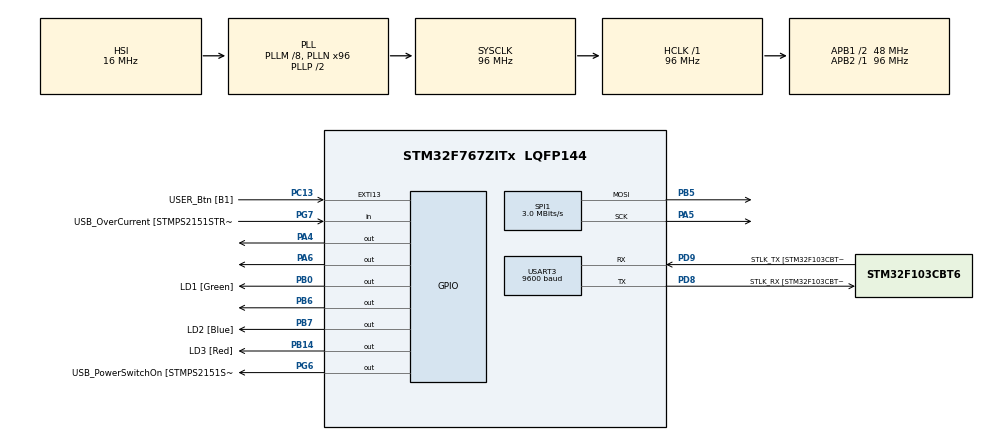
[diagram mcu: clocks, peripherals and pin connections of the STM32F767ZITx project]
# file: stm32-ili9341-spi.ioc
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CORTEX_M7.default_mode_Activation=1
Mcu.Family=STM32F7
Mcu.Name=STM32F767ZITx
Mcu.Package=LQFP144
NVIC.PriorityGroup=NVIC_PRIORITYGROUP_4
PA1.GPIO_Label=RMII_REF_CLK [LAN8742A-CZ-TR_REFCLK0]
PA1.Signal=ETH_REF_CLK
PA10.GPIO_Label=USB_ID
PA10.Signal=USB_OTG_FS_ID
PA11.GPIO_Label=USB_DM
PA11.Signal=USB_OTG_FS_DM
PA12.GPIO_Label=USB_DP
PA12.Signal=USB_OTG_FS_DP
PA13.GPIO_Label=TMS
PA13.Mode=Serial_Wire
PA13.Signal=SYS_JTMS-SWDIO
PA14.GPIO_Label=TCK
PA14.Mode=Serial_Wire
PA14.Signal=SYS_JTCK-SWCLK
PA2.GPIO_Label=RMII_MDIO [LAN8742A-CZ-TR_MDIO]
PA2.Signal=ETH_MDIO
PA4.PinState=GPIO_PIN_SET
PA4.Signal=GPIO_Output
PA5.Mode=TX_Only_Simplex_Unidirect_Master
PA5.Signal=SPI1_SCK
PA6.PinState=GPIO_PIN_RESET
PA6.Signal=GPIO_Output
PA7.GPIO_Label=RMII_CRS_DV [LAN8742A-CZ-TR_CRS_DV]
PA7.Signal=ETH_CRS_DV
PA8.GPIO_Label=USB_SOF [TP1]
PA8.Signal=USB_OTG_FS_SOF
PA9.GPIO_Label=USB_VBUS
PA9.Signal=USB_OTG_FS_VBUS
PB0.GPIO_Label=LD1 [Green]
PB0.Signal=GPIO_Output
PB13.GPIO_Label=RMII_TXD1 [LAN8742A-CZ-TR_TXD1]
PB13.Signal=ETH_TXD1
PB14.GPIO_Label=LD3 [Red]
PB14.Signal=GPIO_Output
PB3.GPIO_Label=SW0
PB3.Signal=SYS_JTDO-SWO
PB5.Mode=TX_Only_Simplex_Unidirect_Master
PB5.Signal=SPI1_MOSI
PB6.PinState=GPIO_PIN_SET
PB6.Signal=GPIO_Output
PB7.GPIO_Label=LD2 [Blue]
PB7.Signal=GPIO_Output
PC1.GPIO_Label=RMII_MDC [LAN8742A-CZ-TR_MDC]
PC1.Signal=ETH_MDC
PC13.GPIO_Label=USER_Btn [B1]
PC13.Signal=GPXTI13
PC14/OSC32_IN.Signal=RCC_OSC32_IN
PC15/OSC32_OUT.Signal=RCC_OSC32_OUT
PC4.GPIO_Label=RMII_RXD0 [LAN8742A-CZ-TR_RXD0]
PC4.Signal=ETH_RXD0
PC5.GPIO_Label=RMII_RXD1 [LAN8742A-CZ-TR_RXD1]
PC5.Signal=ETH_RXD1
PD8.GPIO_Label=STLK_RX [STM32F103CBT6_PA3]
PD8.Mode=Asynchronous
PD8.Signal=USART3_TX
PD9.GPIO_Label=STLK_TX [STM32F103CBT6_PA2]
PD9.Mode=Asynchronous
PD9.Signal=USART3_RX
PG11.GPIO_Label=RMII_TX_EN [LAN8742A-CZ-TR_TXEN]
PG11.Signal=ETH_TX_EN
PG13.GPIO_Label=RMII_TXD0 [LAN8742A-CZ-TR_TXD0]
PG13.Signal=ETH_TXD0
PG6.GPIO_Label=USB_PowerSwitchOn [STMPS2151STR_EN]
PG6.Signal=GPIO_Output
PG7.GPIO_Label=USB_OverCurrent [STMPS2151STR_FAULT]
PG7.Signal=GPIO_Input
PH0/OSC_IN.GPIO_Label=MCO [STM32F103CBT6_PA8]
PH0/OSC_IN.Signal=RCC_OSC_IN
PH1/OSC_OUT.Signal=RCC_OSC_OUT
ProjectManager.HeapSize=0x200
ProjectManager.StackSize=0x400
ProjectManager.TargetToolchain=STM32CubeIDE
RCC.48MHZClocksFreq_Value=24000000
RCC.AHBFreq_Value=96000000
RCC.APB1CLKDivider=RCC_HCLK_DIV2
RCC.APB1Freq_Value=48000000
RCC.APB1TimFreq_Value=96000000
RCC.APB2Freq_Value=96000000
RCC.APB2TimFreq_Value=96000000
RCC.CortexFreq_Value=96000000
RCC.HCLKFreq_Value=96000000
RCC.HSE_VALUE=16000000
RCC.HSI_VALUE=16000000
RCC.LSE_VALUE=32768
RCC.PLLM=8
RCC.PLLMUL=RCC_PLL_MUL9
RCC.PLLN=96
RCC.PRESCALERUSB=RCC_USBCLKSOURCE_PLL_DIV1_5
RCC.SYSCLKFreq_VALUE=96000000
RCC.SYSCLKSource=RCC_SYSCLKSOURCE_PLLCLK
RCC.SYSCLKSourceVirtual=RCC_SYSCLKSOURCE_PLLCLK
RCC.USBFreq_Value=96000000
RCC.VCOOutputFreq_Value=192000000
SPI1.BaudRatePrescaler=SPI_BAUDRATEPRESCALER_32
SPI1.CalculateBaudRate=3.0 MBits/s
SPI1.DataSize=SPI_DATASIZE_8BIT
SPI1.Direction=SPI_DIRECTION_2LINES
SPI1.Mode=SPI_MODE_MASTER
SPI1.VirtualType=VM_MASTER
USART3.BaudRate=9600
USART3.VirtualMode-Asynchronous=VM_ASYNC
board=NUCLEO-F767ZI

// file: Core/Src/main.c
/* USER CODE BEGIN Header */
/* https://github.com/Romshh */
/**
  ******************************************************************************
  * @file           : main.c
  * @brief          : Main program body
  ******************************************************************************
  * @attention
  *
  * Copyright (c) 2026 STMicroelectronics.
  * All rights reserved.
  *
  * This software is licensed under terms that can be found in the LICENSE file
  * in the root directory of this software component.
  * If no LICENSE file comes with this software, it is provided AS-IS.
  *
  ******************************************************************************
  */
/* USER CODE END Header */

#include "main.h"

/* USER CODE BEGIN Includes */
#include "lcd.h"

/* USER CODE END Includes */

SPI_HandleTypeDef hspi1;

UART_HandleTypeDef huart3;

void SystemClock_Config(void);
static void MPU_Config(void);
static void MX_GPIO_Init(void);
static void MX_SPI1_Init(void);
static void MX_USART3_UART_Init(void);

/* USER CODE BEGIN 0 */

#define LOGO_SIZE   56
#define LOGO_SCALE   3

static const char *logo[LOGO_SIZE] = {
  ".........................######.........................",
  "....................################....................",
  "..................####################..................",
  "...............#########################................",
  "..............############################..............",
  "............################################............",
  "...........##################################...........",
  "..........####################################..........",
  ".........######################################.........",
  "........########################################........",
  ".......##########################################.......",
  "......############################################......",
  ".....##########.########################.##########.....",
  ".....#########.....##################.....#########.....",
  "....##########.......##..........##.......##########....",
  "....##########............................##########....",
  "...###########............................###########...",
  "...###########............................###########...",
  "..############............................############..",
  "..############............................############..",
  "..############............................############..",
  ".############..............................############.",
  ".############..............................############.",
  ".###########................................###########.",
  ".###########................................###########.",
  ".###########................................###########.",
  "############................................############",
  "############................................############",
  "############................................############",
  "############................................############",
  "############................................############",
  "############................................############",
  ".############..............................############.",
  ".############..............................############.",
  ".#############............................#############.",
  ".##############..........................##############.",
  ".##############.........................###############.",
  "..###############......................###############..",
  "..################....................################..",
  "...#####....########...............##################...",
  "...#####.....##########..........####################...",
  "...#######....#########..........####################...",
  "....#######....#######............##################....",
  ".....######.....####...............################.....",
  ".....#######.......................################.....",
  "......######.......................###############......",
  ".......######......................##############.......",
  "........######.....................##############.......",
  "........########...................#############........",
  "..........###########..............############.........",
  "...........##########..............##########...........",
  "............#########..............#########............",
  "..............#######..............########.............",
  "...............######..............######...............",
  ".................###................###.................",
  "........................................................",
};

/* USER CODE END 0 */

int main(void)
{

  MPU_Config();

  HAL_Init();

  SystemClock_Config();

  MX_GPIO_Init();
  MX_SPI1_Init();
  MX_USART3_UART_Init();
  /* USER CODE BEGIN 2 */
  lcd_init();

  lcd_clear(BLACK);

  uint16_t lx = (LCD_W - LOGO_SIZE * LOGO_SCALE) / 2;
  uint16_t ly = 6;

  for (uint16_t r = 0; r < LOGO_SIZE; r++) {
    for (uint16_t c = 0; c < LOGO_SIZE; c++) {
      if (logo[r][c] == '#') {
        lcd_rect_fill(lx + c * LOGO_SCALE, ly + r * LOGO_SCALE,
                      LOGO_SCALE, LOGO_SCALE, WHITE);
      }
    }
  }

  lcd_text((LCD_W - 6 * 6 * 4) / 2, 190, "Romshh", WHITE, BLACK, 4);

  /* USER CODE END 2 */

  while (1)
  {

  }
}

void SystemClock_Config(void)
{
  RCC_OscInitTypeDef RCC_OscInitStruct = {0};
  RCC_ClkInitTypeDef RCC_ClkInitStruct = {0};

  __HAL_RCC_PWR_CLK_ENABLE();
  __HAL_PWR_VOLTAGESCALING_CONFIG(PWR_REGULATOR_VOLTAGE_SCALE3);

  RCC_OscInitStruct.OscillatorType = RCC_OSCILLATORTYPE_HSI;
  RCC_OscInitStruct.HSIState = RCC_HSI_ON;
  RCC_OscInitStruct.HSICalibrationValue = RCC_HSICALIBRATION_DEFAULT;
  RCC_OscInitStruct.PLL.PLLState = RCC_PLL_ON;
  RCC_OscInitStruct.PLL.PLLSource = RCC_PLLSOURCE_HSI;
  RCC_OscInitStruct.PLL.PLLM = 8;
  RCC_OscInitStruct.PLL.PLLN = 96;
  RCC_OscInitStruct.PLL.PLLP = RCC_PLLP_DIV2;
  RCC_OscInitStruct.PLL.PLLQ = 2;
  RCC_OscInitStruct.PLL.PLLR = 2;
  if (HAL_RCC_OscConfig(&RCC_OscInitStruct) != HAL_OK)
  {
    Error_Handler();
  }

  if (HAL_PWREx_EnableOverDrive() != HAL_OK)
  {
    Error_Handler();
  }

  RCC_ClkInitStruct.ClockType = RCC_CLOCKTYPE_HCLK|RCC_CLOCKTYPE_SYSCLK
                              |RCC_CLOCKTYPE_PCLK1|RCC_CLOCKTYPE_PCLK2;
  RCC_ClkInitStruct.SYSCLKSource = RCC_SYSCLKSOURCE_PLLCLK;
  RCC_ClkInitStruct.AHBCLKDivider = RCC_SYSCLK_DIV1;
  RCC_ClkInitStruct.APB1CLKDivider = RCC_HCLK_DIV2;
  RCC_ClkInitStruct.APB2CLKDivider = RCC_HCLK_DIV1;

  if (HAL_RCC_ClockConfig(&RCC_ClkInitStruct, FLASH_LATENCY_3) != HAL_OK)
  {
    Error_Handler();
  }
}

static void MX_SPI1_Init(void)
{

  hspi1.Instance = SPI1;
  hspi1.Init.Mode = SPI_MODE_MASTER;
  hspi1.Init.Direction = SPI_DIRECTION_2LINES;
  hspi1.Init.DataSize = SPI_DATASIZE_8BIT;
  hspi1.Init.CLKPolarity = SPI_POLARITY_LOW;
  hspi1.Init.CLKPhase = SPI_PHASE_1EDGE;
  hspi1.Init.NSS = SPI_NSS_SOFT;
  hspi1.Init.BaudRatePrescaler = SPI_BAUDRATEPRESCALER_32;
  hspi1.Init.FirstBit = SPI_FIRSTBIT_MSB;
  hspi1.Init.TIMode = SPI_TIMODE_DISABLE;
  hspi1.Init.CRCCalculation = SPI_CRCCALCULATION_DISABLE;
  hspi1.Init.CRCPolynomial = 7;
  hspi1.Init.CRCLength = SPI_CRC_LENGTH_DATASIZE;
  hspi1.Init.NSSPMode = SPI_NSS_PULSE_ENABLE;
  if (HAL_SPI_Init(&hspi1) != HAL_OK)
  {
    Error_Handler();
  }

}

static void MX_USART3_UART_Init(void)
{

  huart3.Instance = USART3;
  huart3.Init.BaudRate = 9600;
  huart3.Init.WordLength = UART_WORDLENGTH_8B;
  huart3.Init.StopBits = UART_STOPBITS_1;
  huart3.Init.Parity = UART_PARITY_NONE;
  huart3.Init.Mode = UART_MODE_TX_RX;
  huart3.Init.HwFlowCtl = UART_HWCONTROL_NONE;
  huart3.Init.OverSampling = UART_OVERSAMPLING_16;
  huart3.Init.OneBitSampling = UART_ONE_BIT_SAMPLE_DISABLE;
  huart3.AdvancedInit.AdvFeatureInit = UART_ADVFEATURE_NO_INIT;
  if (HAL_UART_Init(&huart3) != HAL_OK)
  {
    Error_Handler();
  }

}

static void MX_GPIO_Init(void)
{
  GPIO_InitTypeDef GPIO_InitStruct = {0};

  __HAL_RCC_GPIOC_CLK_ENABLE();
  __HAL_RCC_GPIOH_CLK_ENABLE();
  __HAL_RCC_GPIOA_CLK_ENABLE();
  __HAL_RCC_GPIOB_CLK_ENABLE();
  __HAL_RCC_GPIOD_CLK_ENABLE();
  __HAL_RCC_GPIOG_CLK_ENABLE();

  HAL_GPIO_WritePin(GPIOA, GPIO_PIN_4, GPIO_PIN_SET);

  HAL_GPIO_WritePin(GPIOA, GPIO_PIN_6, GPIO_PIN_RESET);

  HAL_GPIO_WritePin(GPIOB, LD1_Pin|LD3_Pin|LD2_Pin, GPIO_PIN_RESET);

  HAL_GPIO_WritePin(USB_PowerSwitchOn_GPIO_Port, USB_PowerSwitchOn_Pin, GPIO_PIN_RESET);

  HAL_GPIO_WritePin(GPIOB, GPIO_PIN_6, GPIO_PIN_SET);

  GPIO_InitStruct.Pin = USER_Btn_Pin;
  GPIO_InitStruct.Mode = GPIO_MODE_IT_RISING;
  GPIO_InitStruct.Pull = GPIO_NOPULL;
  HAL_GPIO_Init(USER_Btn_GPIO_Port, &GPIO_InitStruct);

  GPIO_InitStruct.Pin = RMII_MDC_Pin|RMII_RXD0_Pin|RMII_RXD1_Pin;
  GPIO_InitStruct.Mode = GPIO_MODE_AF_PP;
  GPIO_InitStruct.Pull = GPIO_NOPULL;
  GPIO_InitStruct.Speed = GPIO_SPEED_FREQ_HIGH;
  GPIO_InitStruct.Alternate = GPIO_AF11_ETH;
  HAL_GPIO_Init(GPIOC, &GPIO_InitStruct);

  GPIO_InitStruct.Pin = RMII_REF_CLK_Pin|RMII_MDIO_Pin|RMII_CRS_DV_Pin;
  GPIO_InitStruct.Mode = GPIO_MODE_AF_PP;
  GPIO_InitStruct.Pull = GPIO_NOPULL;
  GPIO_InitStruct.Speed = GPIO_SPEED_FREQ_HIGH;
  GPIO_InitStruct.Alternate = GPIO_AF11_ETH;
  HAL_GPIO_Init(GPIOA, &GPIO_InitStruct);

  GPIO_InitStruct.Pin = GPIO_PIN_4|GPIO_PIN_6;
  GPIO_InitStruct.Mode = GPIO_MODE_OUTPUT_PP;
  GPIO_InitStruct.Pull = GPIO_NOPULL;
  GPIO_InitStruct.Speed = GPIO_SPEED_FREQ_LOW;
  HAL_GPIO_Init(GPIOA, &GPIO_InitStruct);

  GPIO_InitStruct.Pin = LD1_Pin|LD3_Pin|GPIO_PIN_6|LD2_Pin;
  GPIO_InitStruct.Mode = GPIO_MODE_OUTPUT_PP;
  GPIO_InitStruct.Pull = GPIO_NOPULL;
  GPIO_InitStruct.Speed = GPIO_SPEED_FREQ_LOW;
  HAL_GPIO_Init(GPIOB, &GPIO_InitStruct);

  GPIO_InitStruct.Pin = RMII_TXD1_Pin;
  GPIO_InitStruct.Mode = GPIO_MODE_AF_PP;
  GPIO_InitStruct.Pull = GPIO_NOPULL;
  GPIO_InitStruct.Speed = GPIO_SPEED_FREQ_HIGH;
  GPIO_InitStruct.Alternate = GPIO_AF11_ETH;
  HAL_GPIO_Init(RMII_TXD1_GPIO_Port, &GPIO_InitStruct);

  GPIO_InitStruct.Pin = USB_PowerSwitchOn_Pin;
  GPIO_InitStruct.Mode = GPIO_MODE_OUTPUT_PP;
  GPIO_InitStruct.Pull = GPIO_NOPULL;
  GPIO_InitStruct.Speed = GPIO_SPEED_FREQ_LOW;
  HAL_GPIO_Init(USB_PowerSwitchOn_GPIO_Port, &GPIO_InitStruct);

  GPIO_InitStruct.Pin = USB_OverCurrent_Pin;
  GPIO_InitStruct.Mode = GPIO_MODE_INPUT;
  GPIO_InitStruct.Pull = GPIO_NOPULL;
  HAL_GPIO_Init(USB_OverCurrent_GPIO_Port, &GPIO_InitStruct);

  GPIO_InitStruct.Pin = USB_SOF_Pin|USB_ID_Pin|USB_DM_Pin|USB_DP_Pin;
  GPIO_InitStruct.Mode = GPIO_MODE_AF_PP;
  GPIO_InitStruct.Pull = GPIO_NOPULL;
  GPIO_InitStruct.Speed = GPIO_SPEED_FREQ_VERY_HIGH;
  GPIO_InitStruct.Alternate = GPIO_AF10_OTG_FS;
  HAL_GPIO_Init(GPIOA, &GPIO_InitStruct);

  GPIO_InitStruct.Pin = USB_VBUS_Pin;
  GPIO_InitStruct.Mode = GPIO_MODE_INPUT;
  GPIO_InitStruct.Pull = GPIO_NOPULL;
  HAL_GPIO_Init(USB_VBUS_GPIO_Port, &GPIO_InitStruct);

  GPIO_InitStruct.Pin = RMII_TX_EN_Pin|RMII_TXD0_Pin;
  GPIO_InitStruct.Mode = GPIO_MODE_AF_PP;
  GPIO_InitStruct.Pull = GPIO_NOPULL;
  GPIO_InitStruct.Speed = GPIO_SPEED_FREQ_HIGH;
  GPIO_InitStruct.Alternate = GPIO_AF11_ETH;
  HAL_GPIO_Init(GPIOG, &GPIO_InitStruct);

}

void MPU_Config(void)
{
  MPU_Region_InitTypeDef MPU_InitStruct = {0};

  HAL_MPU_Disable();

  MPU_InitStruct.Enable = MPU_REGION_ENABLE;
  MPU_InitStruct.Number = MPU_REGION_NUMBER0;
  MPU_InitStruct.BaseAddress = 0x0;
  MPU_InitStruct.Size = MPU_REGION_SIZE_4GB;
  MPU_InitStruct.SubRegionDisable = 0x87;
  MPU_InitStruct.TypeExtField = MPU_TEX_LEVEL0;
  MPU_InitStruct.AccessPermission = MPU_REGION_NO_ACCESS;
  MPU_InitStruct.DisableExec = MPU_INSTRUCTION_ACCESS_DISABLE;
  MPU_InitStruct.IsShareable = MPU_ACCESS_SHAREABLE;
  MPU_InitStruct.IsCacheable = MPU_ACCESS_NOT_CACHEABLE;
  MPU_InitStruct.IsBufferable = MPU_ACCESS_NOT_BUFFERABLE;

  HAL_MPU_ConfigRegion(&MPU_InitStruct);

  HAL_MPU_Enable(MPU_PRIVILEGED_DEFAULT);

}

void Error_Handler(void)
{
  __disable_irq();
  while (1)
  {
  }
}
